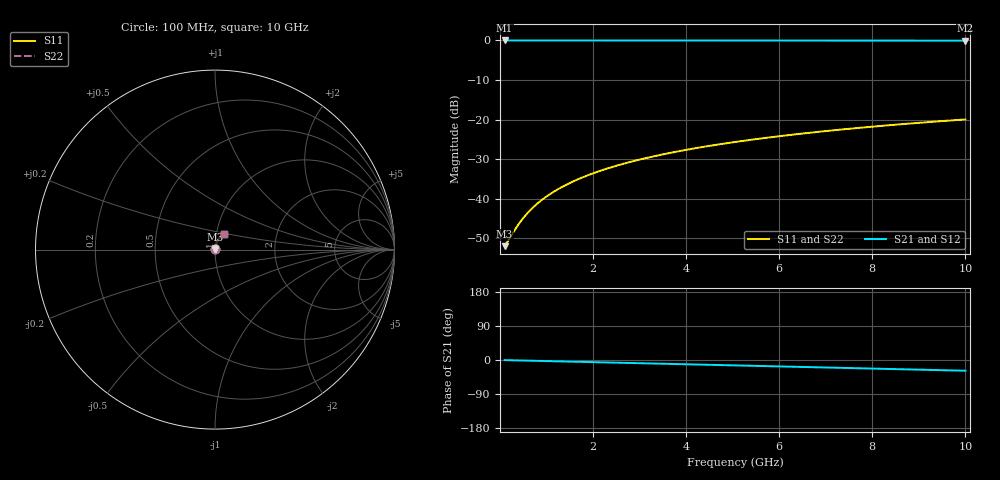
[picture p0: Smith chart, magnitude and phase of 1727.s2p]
# Hz S RI R 50.00
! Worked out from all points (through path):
!   100 points, 100 MHz to 10 GHz, reference 50 ohm
!   highest |S21| = -0.02 dB at 100 MHz (marker M1); lowest = -0.1 dB at 10 GHz (marker M2)
!   group delay of S21, straight-line fit = 7.86 ps
!   lowest |S11| = -52.0 dB at 100 MHz (marker M3), VSWR 1.01, Z = 50.2 + j0.103 ohm
!   |S11| at or under -10 dB: start of sweep to end of sweep
!   |S22| runs from -52.0 to -20.0 dB; largest |S21 - S12| = 0
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1e8  0.0023 0.00103  0.9977 -0.0049  0.9977 -0.0049  0.0023 0.00103
2e8  0.00233 0.00206  0.9976 -0.00981  0.9976 -0.00981  0.00233 0.00206
3e8  0.00236 0.00309  0.9976 -0.0147  0.9976 -0.0147  0.00236 0.00309
4e8  0.0024 0.00412  0.9975 -0.0196  0.9975 -0.0196  0.0024 0.00412
5e8  0.00246 0.00515  0.9973 -0.0245  0.9973 -0.0245  0.00246 0.00515
6e8  0.00252 0.00618  0.9972 -0.0294  0.9972 -0.0294  0.00252 0.00618
7e8  0.00259 0.0072  0.997 -0.0343  0.997 -0.0343  0.00259 0.0072
8e8  0.00267 0.00823  0.9968 -0.0392  0.9968 -0.0392  0.00267 0.00823
1e9  0.00286 0.0103  0.9964 -0.049  0.9964 -0.049  0.00286 0.0103
1.2e9  0.00309 0.0123  0.9958 -0.0588  0.9958 -0.0588  0.00309 0.0123
1.5e9  0.0035 0.0154  0.9948 -0.0735  0.9948 -0.0735  0.0035 0.0154
1.8e9  0.00401 0.0184  0.9935 -0.0882  0.9935 -0.0882  0.00401 0.0184
2.1e9  0.0046 0.0215  0.992 -0.1028  0.992 -0.1028  0.0046 0.0215
2.5e9  0.00554 0.0255  0.9897 -0.1223  0.9897 -0.1223  0.00554 0.0255
2.9e9  0.00663 0.0294  0.9869 -0.1418  0.9869 -0.1418  0.00663 0.0294
3.4e9  0.00821 0.0343  0.983 -0.166  0.983 -0.166  0.00821 0.0343
4.2e9  0.0112 0.042  0.9753 -0.2046  0.9753 -0.2046  0.0112 0.042
5.1e9  0.0153 0.0503  0.9648 -0.2476  0.9648 -0.2476  0.0153 0.0503
5.9e9  0.0196 0.0573  0.9538 -0.2854  0.9538 -0.2854  0.0196 0.0573
6.7e9  0.0244 0.064  0.9412 -0.3227  0.9412 -0.3227  0.0244 0.064
8.4e9  0.0364 0.077  0.9095 -0.4002  0.9095 -0.4002  0.0364 0.077
1e10  0.0496 0.0873  0.8736 -0.4704  0.8736 -0.4704  0.0496 0.0873
